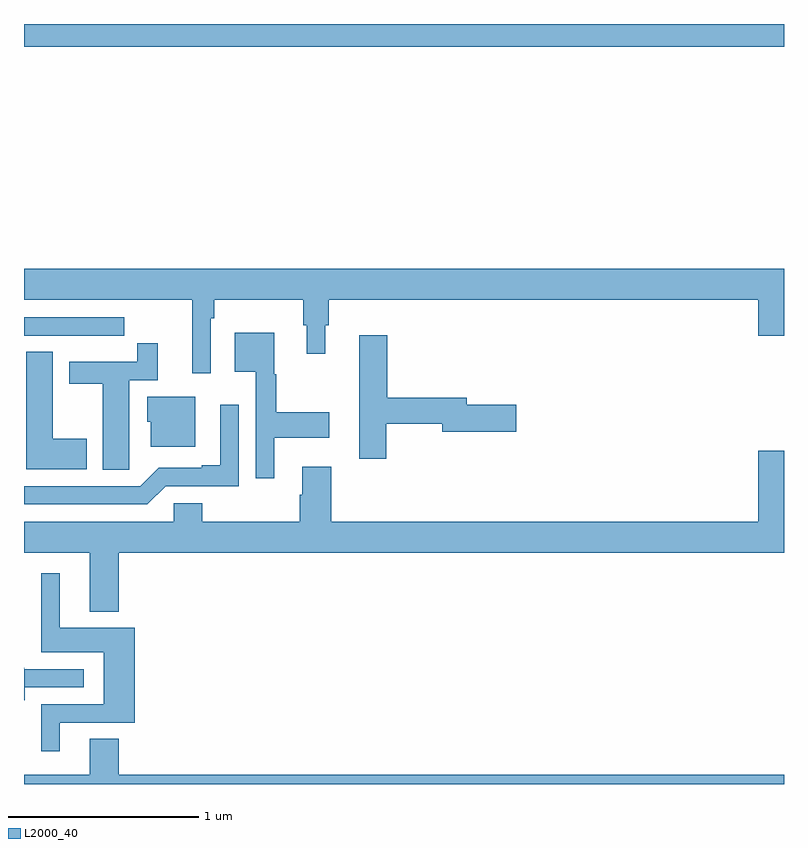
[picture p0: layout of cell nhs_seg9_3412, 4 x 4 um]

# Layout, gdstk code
import gdstk
lib = gdstk.Library(unit=1e-6, precision=1e-09)
def R(c, l, rs):  # rectangles x0, y0, x1, y1
    for r in rs: c.add(gdstk.rectangle(r[:2], r[2:], *l))
def P(c, l, *ps):  # polygons
    for p in ps: c.add(gdstk.Polygon(p, *l))
L2000_40 = (2000, 40)

nhs_seg9_3412 = lib.new_cell('nhs_seg9_3412')
R(nhs_seg9_3412, L2000_40, [(305,1236.38,309,1236.5)])
P(nhs_seg9_3412, L2000_40, [(305.982,1234.952),(306.002,1234.952),(306.002,1235.048),(306.469,1235.048),(306.469,1234.914),(306.488,1234.914),(306.488,1234.764),(306.586,1234.764),(306.586,1234.914),(306.605,1234.914),(306.605,1235.048),(308.864,1235.048),(308.864,1234.86),(309,1234.86),(309,1235.212),(305,1235.212),(305,1235.048),(305.885,1235.048),(305.885,1234.662),(305.982,1234.662)],
  [(305.414,1234.86),(305.527,1234.86),(305.527,1234.956),(305,1234.956),(305,1234.86),(305.248,1234.86),(305.248,1234.859),(305.414,1234.859)],
  [(306.316,1234.322),(306.607,1234.322),(306.607,1234.457),(306.328,1234.457),(306.328,1234.656),(306.316,1234.656),(306.316,1234.876),(306.11,1234.876),(306.11,1234.67),(306.219,1234.67),(306.219,1234.11),(306.316,1234.11)],
  [(306.906,1234.396),(307.202,1234.396),(307.202,1234.354),(307.591,1234.354),(307.591,1234.496),(307.33,1234.496),(307.33,1234.532),(306.911,1234.532),(306.911,1234.861),(306.764,1234.861),(306.764,1234.212),(306.906,1234.212)],
  [(305.553,1234.264),(305.554,1234.264),(305.554,1234.626),(305.705,1234.626),(305.705,1234.819),(305.596,1234.819),(305.596,1234.722),(305.237,1234.722),(305.237,1234.606),(305.414,1234.606),(305.414,1234.153),(305.553,1234.153)],
  [(305.329,1234.317),(305.152,1234.317),(305.152,1234.775),(305.013,1234.775),(305.013,1234.667),(305.012,1234.667),(305.012,1234.157),(305.329,1234.157)],
  [(305.902,1234.537),(305.648,1234.537),(305.648,1234.407),(305.666,1234.407),(305.666,1234.274),(305.902,1234.274)],
  [(305.745,1234.068),(306.129,1234.068),(306.129,1234.495),(306.032,1234.495),(306.032,1234.177),(305.936,1234.177),(305.936,1234.164),(305.709,1234.164),(305.613,1234.068),(305,1234.068),(305,1233.972),(305.649,1233.972)],
  [(305.498,1233.716),(309,1233.716),(309,1234.255),(308.864,1234.255),(308.864,1233.88),(306.617,1233.88),(306.617,1234.171),(306.464,1234.171),(306.464,1234.022),(306.452,1234.022),(306.452,1233.88),(305.939,1233.88),(305.939,1233.978),(305.787,1233.978),(305.787,1233.88),(305,1233.88),(305,1233.716),(305.345,1233.716),(305.345,1233.407),(305.498,1233.407)],
  [(305.188,1232.823),(305.584,1232.823),(305.584,1233.322),(305.188,1233.322),(305.188,1233.61),(305.09,1233.61),(305.09,1233.194),(305.42,1233.194),(305.42,1232.919),(305.09,1232.919),(305.09,1232.673),(305.188,1232.673)],
  [(305.005,1233.009),(305.314,1233.009),(305.314,1233.105),(305.001,1233.105),(305.001,1233.113),(305,1233.113),(305,1232.942),(305.005,1232.942)],
  [(309,1232.548),(305.498,1232.548),(305.498,1232.738),(305.345,1232.738),(305.345,1232.548),(305,1232.548),(305,1232.5),(309,1232.5)])

lib.write_gds('nhs_seg9_3412.gds')
